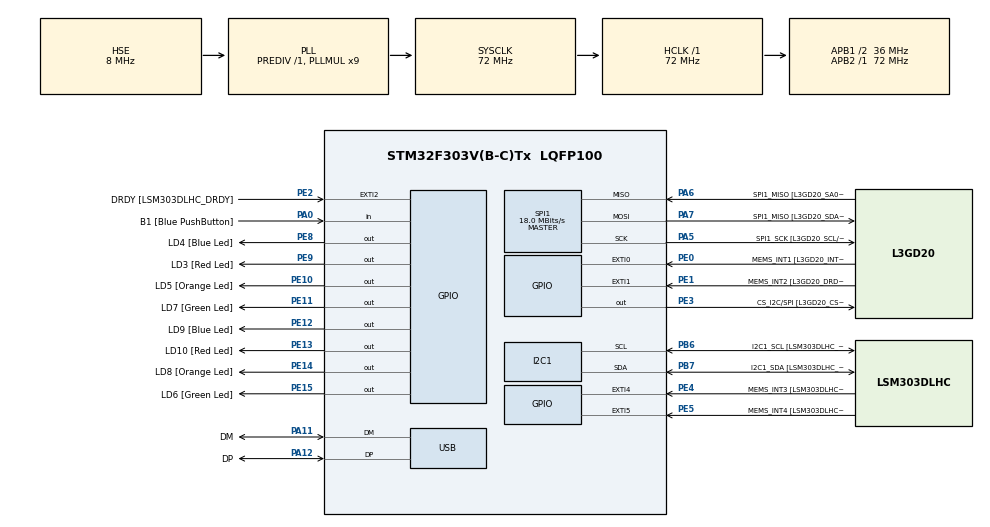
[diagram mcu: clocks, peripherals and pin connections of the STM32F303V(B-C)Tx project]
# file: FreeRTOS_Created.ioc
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I2C1.Timing-I2C=0x2000090E
Mcu.Family=STM32F3
Mcu.Name=STM32F303V(B-C)Tx
Mcu.Package=LQFP100
NVIC.PriorityGroup=NVIC_PRIORITYGROUP_4
NVIC.TIM3_IRQn=true\:0\:0\:false\:false\:true\:false\:true
NVIC.TimeBase=TIM3_IRQn
NVIC.TimeBaseIP=TIM3
PA0.GPIO_Label=B1 [Blue PushButton]
PA0.Signal=GPIO_Input
PA11.GPIO_Label=DM
PA11.Mode=Device
PA11.Signal=USB_DM
PA12.GPIO_Label=DP
PA12.Mode=Device
PA12.Signal=USB_DP
PA13.GPIO_Label=SWDIO
PA13.Mode=Serial_Wire
PA13.Signal=SYS_JTMS-SWDIO
PA14.GPIO_Label=SWCLK
PA14.Mode=Serial_Wire
PA14.Signal=SYS_JTCK-SWCLK
PA5.GPIO_Label=SPI1_SCK [L3GD20_SCL/SPC]
PA5.Mode=Full_Duplex_Master
PA5.Signal=SPI1_SCK
PA6.GPIO_Label=SPI1_MISO [L3GD20_SA0/SDO]
PA6.Mode=Full_Duplex_Master
PA6.Signal=SPI1_MISO
PA7.GPIO_Label=SPI1_MISO [L3GD20_SDA/SDI/SDO]
PA7.Mode=Full_Duplex_Master
PA7.Signal=SPI1_MOSI
PB3.GPIO_Label=SWO
PB3.Signal=SYS_JTDO-TRACESWO
PB6.GPIO_Label=I2C1_SCL [LSM303DLHC_SCL]
PB6.Mode=I2C
PB6.Signal=I2C1_SCL
PB7.GPIO_Label=I2C1_SDA [LSM303DLHC_SDA]
PB7.Mode=I2C
PB7.Signal=I2C1_SDA
PC14-OSC32_IN.GPIO_Label=OSC32_IN
PC14-OSC32_IN.Signal=RCC_OSC32_IN
PC15-OSC32_OUT.GPIO_Label=OSC32_OUT
PC15-OSC32_OUT.Signal=RCC_OSC32_OUT
PE0.GPIO_Label=MEMS_INT1 [L3GD20_INT1]
PE0.GPIO_ModeDefaultEXTI=GPIO_MODE_EVT_RISING
PE0.Signal=GPXTI0
PE1.GPIO_Label=MEMS_INT2 [L3GD20_DRDY/INT2]
PE1.GPIO_ModeDefaultEXTI=GPIO_MODE_EVT_RISING
PE1.Signal=GPXTI1
PE10.GPIO_Label=LD5 [Orange Led]
PE10.Signal=GPIO_Output
PE11.GPIO_Label=LD7 [Green Led]
PE11.Signal=GPIO_Output
PE12.GPIO_Label=LD9 [Blue Led]
PE12.Signal=GPIO_Output
PE13.GPIO_Label=LD10 [Red Led]
PE13.Signal=GPIO_Output
PE14.GPIO_Label=LD8 [Orange Led]
PE14.Signal=GPIO_Output
PE15.GPIO_Label=LD6 [Green Led]
PE15.Signal=GPIO_Output
PE2.GPIO_Label=DRDY [LSM303DLHC_DRDY]
PE2.GPIO_ModeDefaultEXTI=GPIO_MODE_EVT_RISING
PE2.Signal=GPXTI2
PE3.GPIO_Label=CS_I2C/SPI [L3GD20_CS_I2C/SPI]
PE3.Signal=GPIO_Output
PE4.GPIO_Label=MEMS_INT3 [LSM303DLHC_INT1]
PE4.GPIO_ModeDefaultEXTI=GPIO_MODE_EVT_RISING
PE4.Signal=GPXTI4
PE5.GPIO_Label=MEMS_INT4 [LSM303DLHC_INT2]
PE5.GPIO_ModeDefaultEXTI=GPIO_MODE_EVT_RISING
PE5.Signal=GPXTI5
PE8.GPIO_Label=LD4 [Blue Led]
PE8.Signal=GPIO_Output
PE9.GPIO_Label=LD3 [Red Led]
PE9.Signal=GPIO_Output
PF0-OSC_IN.GPIO_Label=OSC_IN
PF0-OSC_IN.Mode=HSE-External-Clock-Source
PF0-OSC_IN.Signal=RCC_OSC_IN
PF1-OSC_OUT.GPIO_Label=OSC_OUT
PF1-OSC_OUT.Signal=RCC_OSC_OUT
ProjectManager.HeapSize=0x800
ProjectManager.StackSize=0x800
ProjectManager.TargetToolchain=MDK-ARM V5.27
RCC.AHBFreq_Value=72000000
RCC.APB1CLKDivider=RCC_HCLK_DIV2
RCC.APB1Freq_Value=36000000
RCC.APB1TimFreq_Value=72000000
RCC.APB2Freq_Value=72000000
RCC.APB2TimFreq_Value=72000000
RCC.CortexFreq_Value=72000000
RCC.HCLKFreq_Value=72000000
RCC.HSE_VALUE=8000000
RCC.HSI_VALUE=8000000
RCC.LSE_VALUE=32768
RCC.PLLMUL=RCC_PLL_MUL9
RCC.PRESCALERUSB=RCC_USBCLKSOURCE_PLL_DIV1_5
RCC.SYSCLKFreq_VALUE=72000000
RCC.SYSCLKSourceVirtual=RCC_SYSCLKSOURCE_PLLCLK
RCC.USBFreq_Value=48000000
SPI1.BaudRatePrescaler=SPI_BAUDRATEPRESCALER_4
SPI1.BaudRatePrescaler-Full_Duplex_Master=SPI_BAUDRATEPRESCALER_2
SPI1.CalculateBaudRate=18.0 MBits/s
SPI1.CalculateBaudRate-Full_Duplex_Master=24.0 MBits/s
SPI1.Direction=SPI_DIRECTION_2LINES
SPI1.Mode=SPI_MODE_MASTER
SPI1.Mode-Full_Duplex_Master=SPI_MODE_MASTER
SPI1.VirtualType=VM_MASTER
VP_SYS_VS_tim3.Mode=TIM3
board=STM32F3DISCOVERY

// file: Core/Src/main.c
/* USER CODE BEGIN Header */
/**
  ******************************************************************************
  * @file           : main.c
  * @brief          : Main program body
  ******************************************************************************
  * @attention
  *
  * <h2><center>&copy; Copyright (c) 2021 STMicroelectronics.
  * All rights reserved.</center></h2>
  *
  * This software component is licensed by ST under Ultimate Liberty license
  * SLA0044, the "License"; You may not use this file except in compliance with
  * the License. You may obtain a copy of the License at:
  *                             www.st.com/SLA0044
  *
  ******************************************************************************
  */
/* USER CODE END Header */
#include "main.h"

/* USER CODE BEGIN Includes */

//====================================================================================================

#include "FreeRTOS.h"
#include "task.h"

	#define STACK_SIZE 100

	/* Structure that will hold the TCB of the task being created. */
    StaticTask_t xTaskBuffer;

    /* Buffer that the task being created will use as its stack.  Note this is
    an array of StackType_t variables.  The size of StackType_t is dependent on
    the RTOS port. */
    StackType_t xStack[ STACK_SIZE ];

	TaskHandle_t xHandle_STATIC;
	TaskHandle_t xHandle_DYNAMIC;

// ENTER TIM3 FOR FreeRTOS !!!!!! CubeMX -> SYS

//====================================================================================================

/* USER CODE END Includes */

I2C_HandleTypeDef hi2c1;

SPI_HandleTypeDef hspi1;

PCD_HandleTypeDef hpcd_USB_FS;

void SystemClock_Config(void);
static void MX_GPIO_Init(void);
static void MX_I2C1_Init(void);
static void MX_SPI1_Init(void);
static void MX_USB_PCD_Init(void);
/* USER CODE BEGIN PFP */

//====================================================================================================

// Blink LED_one
void vTaskCode_STATIC( void * pvParameters );

// Blink LED_two
void vTaskCode_DYNAMIC( void * pvParameters );

//====================================================================================================

/* USER CODE END PFP */

int main(void)
{

  /* MCU Configuration--------------------------------------------------------*/

  /* Reset of all peripherals, Initializes the Flash interface and the Systick. */
  HAL_Init();

  /* Configure the system clock */
  SystemClock_Config();

  /* Initialize all configured peripherals */
  MX_GPIO_Init();
  MX_I2C1_Init();
  MX_SPI1_Init();
  MX_USB_PCD_Init();

  /* Infinite loop */
  /* USER CODE BEGIN WHILE */

  //=========================================================================================================

    /*========== Create the task, storing the handle. =================*/
	// enable #define configUSE_TRACE_FACILITY	1  for cebug 0xA5A5A5A5
    xHandle_STATIC = xTaskCreateStatic(
                    vTaskCode_STATIC,       /* Function that implements the task. */
                    "STATIC",          /* Text name for the task. */
                    STACK_SIZE,      /* Stack size in words, not bytes. */
                    NULL,    /* Parameter passed into the task. */
                    tskIDLE_PRIORITY,/* Priority at which the task is created. */
					xStack, /* Array to use as the task's stack. */
                    &xTaskBuffer );  /* Variable to hold the task's data structure. */

    /*========= Create the task, storing the handle. =================*/
    xTaskCreate(
                    vTaskCode_DYNAMIC,       /* Function that implements the task. */
                    "DYNAMIC",          /* Text name for the task. */
                    100*4,      /* Stack size in words, not bytes. */
                    NULL,    /* Parameter passed into the task. */
                    tskIDLE_PRIORITY,/* Priority at which the task is created. */
                    &xHandle_DYNAMIC);      /* Used to pass out the created task's handle. */

	//==  RUN TASKs ================================================
	vTaskStartScheduler();

  //=========================================================================================================

  while (1)
  {
    /* USER CODE END WHILE */

  }
}

void SystemClock_Config(void)
{
  RCC_OscInitTypeDef RCC_OscInitStruct = {0};
  RCC_ClkInitTypeDef RCC_ClkInitStruct = {0};
  RCC_PeriphCLKInitTypeDef PeriphClkInit = {0};

  /** Initializes the RCC Oscillators according to the specified parameters
  * in the RCC_OscInitTypeDef structure.
  */
  RCC_OscInitStruct.OscillatorType = RCC_OSCILLATORTYPE_HSI|RCC_OSCILLATORTYPE_HSE;
  RCC_OscInitStruct.HSEState = RCC_HSE_BYPASS;
  RCC_OscInitStruct.HSEPredivValue = RCC_HSE_PREDIV_DIV1;
  RCC_OscInitStruct.HSIState = RCC_HSI_ON;
  RCC_OscInitStruct.HSICalibrationValue = RCC_HSICALIBRATION_DEFAULT;
  RCC_OscInitStruct.PLL.PLLState = RCC_PLL_ON;
  RCC_OscInitStruct.PLL.PLLSource = RCC_PLLSOURCE_HSE;
  RCC_OscInitStruct.PLL.PLLMUL = RCC_PLL_MUL9;
  if (HAL_RCC_OscConfig(&RCC_OscInitStruct) != HAL_OK)
  {
    Error_Handler();
  }
  /** Initializes the CPU, AHB and APB buses clocks
  */
  RCC_ClkInitStruct.ClockType = RCC_CLOCKTYPE_HCLK|RCC_CLOCKTYPE_SYSCLK
                              |RCC_CLOCKTYPE_PCLK1|RCC_CLOCKTYPE_PCLK2;
  RCC_ClkInitStruct.SYSCLKSource = RCC_SYSCLKSOURCE_PLLCLK;
  RCC_ClkInitStruct.AHBCLKDivider = RCC_SYSCLK_DIV1;
  RCC_ClkInitStruct.APB1CLKDivider = RCC_HCLK_DIV2;
  RCC_ClkInitStruct.APB2CLKDivider = RCC_HCLK_DIV1;

  if (HAL_RCC_ClockConfig(&RCC_ClkInitStruct, FLASH_LATENCY_2) != HAL_OK)
  {
    Error_Handler();
  }
  PeriphClkInit.PeriphClockSelection = RCC_PERIPHCLK_USB|RCC_PERIPHCLK_I2C1;
  PeriphClkInit.I2c1ClockSelection = RCC_I2C1CLKSOURCE_HSI;
  PeriphClkInit.USBClockSelection = RCC_USBCLKSOURCE_PLL_DIV1_5;
  if (HAL_RCCEx_PeriphCLKConfig(&PeriphClkInit) != HAL_OK)
  {
    Error_Handler();
  }
}

static void MX_I2C1_Init(void)
{

  hi2c1.Instance = I2C1;
  hi2c1.Init.Timing = 0x2000090E;
  hi2c1.Init.OwnAddress1 = 0;
  hi2c1.Init.AddressingMode = I2C_ADDRESSINGMODE_7BIT;
  hi2c1.Init.DualAddressMode = I2C_DUALADDRESS_DISABLE;
  hi2c1.Init.OwnAddress2 = 0;
  hi2c1.Init.OwnAddress2Masks = I2C_OA2_NOMASK;
  hi2c1.Init.GeneralCallMode = I2C_GENERALCALL_DISABLE;
  hi2c1.Init.NoStretchMode = I2C_NOSTRETCH_DISABLE;
  if (HAL_I2C_Init(&hi2c1) != HAL_OK)
  {
    Error_Handler();
  }
  /** Configure Analogue filter
  */
  if (HAL_I2CEx_ConfigAnalogFilter(&hi2c1, I2C_ANALOGFILTER_ENABLE) != HAL_OK)
  {
    Error_Handler();
  }
  /** Configure Digital filter
  */
  if (HAL_I2CEx_ConfigDigitalFilter(&hi2c1, 0) != HAL_OK)
  {
    Error_Handler();
  }

}

static void MX_SPI1_Init(void)
{

  /* SPI1 parameter configuration*/
  hspi1.Instance = SPI1;
  hspi1.Init.Mode = SPI_MODE_MASTER;
  hspi1.Init.Direction = SPI_DIRECTION_2LINES;
  hspi1.Init.DataSize = SPI_DATASIZE_4BIT;
  hspi1.Init.CLKPolarity = SPI_POLARITY_LOW;
  hspi1.Init.CLKPhase = SPI_PHASE_1EDGE;
  hspi1.Init.NSS = SPI_NSS_SOFT;
  hspi1.Init.BaudRatePrescaler = SPI_BAUDRATEPRESCALER_4;
  hspi1.Init.FirstBit = SPI_FIRSTBIT_MSB;
  hspi1.Init.TIMode = SPI_TIMODE_DISABLE;
  hspi1.Init.CRCCalculation = SPI_CRCCALCULATION_DISABLE;
  hspi1.Init.CRCPolynomial = 7;
  hspi1.Init.CRCLength = SPI_CRC_LENGTH_DATASIZE;
  hspi1.Init.NSSPMode = SPI_NSS_PULSE_ENABLE;
  if (HAL_SPI_Init(&hspi1) != HAL_OK)
  {
    Error_Handler();
  }

}

static void MX_USB_PCD_Init(void)
{

  hpcd_USB_FS.Instance = USB;
  hpcd_USB_FS.Init.dev_endpoints = 8;
  hpcd_USB_FS.Init.speed = PCD_SPEED_FULL;
  hpcd_USB_FS.Init.phy_itface = PCD_PHY_EMBEDDED;
  hpcd_USB_FS.Init.low_power_enable = DISABLE;
  hpcd_USB_FS.Init.battery_charging_enable = DISABLE;
  if (HAL_PCD_Init(&hpcd_USB_FS) != HAL_OK)
  {
    Error_Handler();
  }

}

static void MX_GPIO_Init(void)
{
  GPIO_InitTypeDef GPIO_InitStruct = {0};

  /* GPIO Ports Clock Enable */
  __HAL_RCC_GPIOE_CLK_ENABLE();
  __HAL_RCC_GPIOC_CLK_ENABLE();
  __HAL_RCC_GPIOF_CLK_ENABLE();
  __HAL_RCC_GPIOA_CLK_ENABLE();
  __HAL_RCC_GPIOB_CLK_ENABLE();

  /*Configure GPIO pin Output Level */
  HAL_GPIO_WritePin(GPIOE, CS_I2C_SPI_Pin|LD4_Pin|LD3_Pin|LD5_Pin
                          |LD7_Pin|LD9_Pin|LD10_Pin|LD8_Pin
                          |LD6_Pin, GPIO_PIN_RESET);

  /*Configure GPIO pins : DRDY_Pin MEMS_INT3_Pin MEMS_INT4_Pin MEMS_INT1_Pin
                           MEMS_INT2_Pin */
  GPIO_InitStruct.Pin = DRDY_Pin|MEMS_INT3_Pin|MEMS_INT4_Pin|MEMS_INT1_Pin
                          |MEMS_INT2_Pin;
  GPIO_InitStruct.Mode = GPIO_MODE_EVT_RISING;
  GPIO_InitStruct.Pull = GPIO_NOPULL;
  HAL_GPIO_Init(GPIOE, &GPIO_InitStruct);

  /*Configure GPIO pins : CS_I2C_SPI_Pin LD4_Pin LD3_Pin LD5_Pin
                           LD7_Pin LD9_Pin LD10_Pin LD8_Pin
                           LD6_Pin */
  GPIO_InitStruct.Pin = CS_I2C_SPI_Pin|LD4_Pin|LD3_Pin|LD5_Pin
                          |LD7_Pin|LD9_Pin|LD10_Pin|LD8_Pin
                          |LD6_Pin;
  GPIO_InitStruct.Mode = GPIO_MODE_OUTPUT_PP;
  GPIO_InitStruct.Pull = GPIO_NOPULL;
  GPIO_InitStruct.Speed = GPIO_SPEED_FREQ_LOW;
  HAL_GPIO_Init(GPIOE, &GPIO_InitStruct);

  /*Configure GPIO pin : B1_Pin */
  GPIO_InitStruct.Pin = B1_Pin;
  GPIO_InitStruct.Mode = GPIO_MODE_INPUT;
  GPIO_InitStruct.Pull = GPIO_NOPULL;
  HAL_GPIO_Init(B1_GPIO_Port, &GPIO_InitStruct);

}

/* USER CODE BEGIN 4 */

//====================================================================================================

void vTaskCode_STATIC( void * pvParameters )
{
    for( ;; )
    {
        HAL_GPIO_TogglePin( LD4_GPIO_Port, LD4_Pin );
		vTaskDelay( 2000 / portTICK_PERIOD_MS );

		/* puxStackBuffer and pxTaskBuffer were not NULL, so the task will have
        been created, and xHandle will be the task's handle.  Use the handle
        to suspend the task. */
        //vTaskSuspend( xHandle_STATIC );
		//vTaskDelete( NULL );
    }

	//vTaskDelete( NULL );
}

void vTaskCode_DYNAMIC( void * pvParameters )
{
    for( ;; )
    {
        HAL_GPIO_TogglePin( LD6_GPIO_Port, LD6_Pin );
		vTaskDelay( 1500 / portTICK_PERIOD_MS );
    }

	//vTaskDelete( NULL );
}

// the function checks half of the stack if it has been allocated starting from the starting address
uint8_t check_stack( StackType_t* stack, uint16_t stack_size )
{
	for( uint16_t i = 0; i < (stack_size/2); i++ )
	{
		if( stack[i] != 0xA5A5A5A5UL ) return 0;
	}
	return 1;
}

// function is the idle task hook and it is called automatically=======================
void vApplicationIdleHook( void * pvParameters )
{
	 if( check_stack( xStack, STACK_SIZE ) == 0 )
	 {
		 // ERROR HALF STACK
		 HAL_GPIO_WritePin( LD3_GPIO_Port, LD3_Pin, GPIO_PIN_SET );
	 }
	 else
	 {
		 // stack allocated correctly
		 HAL_GPIO_WritePin( LD3_GPIO_Port, LD3_Pin, GPIO_PIN_RESET );
	 }
}

//====================================================================================================

/* configSUPPORT_STATIC_ALLOCATION is set to 1, so the application must provide an
implementation of vApplicationGetIdleTaskMemory() to provide the memory that is
used by the Idle task. */
void vApplicationGetIdleTaskMemory( StaticTask_t **ppxIdleTaskTCBBuffer,
                                    StackType_t **ppxIdleTaskStackBuffer,
                                    uint32_t *pulIdleTaskStackSize )
{
/* If the buffers to be provided to the Idle task are declared inside this
function then they must be declared static - otherwise they will be allocated on
the stack and so not exists after this function exits. */
static StaticTask_t xIdleTaskTCB;
static StackType_t uxIdleTaskStack[ configMINIMAL_STACK_SIZE ];

    /* Pass out a pointer to the StaticTask_t structure in which the Idle task's
    state will be stored. */
    *ppxIdleTaskTCBBuffer = &xIdleTaskTCB;

    /* Pass out the array that will be used as the Idle task's stack. */
    *ppxIdleTaskStackBuffer = uxIdleTaskStack;

    /* Pass out the size of the array pointed to by *ppxIdleTaskStackBuffer.
    Note that, as the array is necessarily of type StackType_t,
    configMINIMAL_STACK_SIZE is specified in words, not bytes. */
    *pulIdleTaskStackSize = configMINIMAL_STACK_SIZE;
}
/*-----------------------------------------------------------*/

/* configSUPPORT_STATIC_ALLOCATION and configUSE_TIMERS are both set to 1, so the
application must provide an implementation of vApplicationGetTimerTaskMemory()
to provide the memory that is used by the Timer service task. */
void vApplicationGetTimerTaskMemory( StaticTask_t **ppxTimerTaskTCBBuffer,
                                     StackType_t **ppxTimerTaskStackBuffer,
                                     uint32_t *pulTimerTaskStackSize )
{
/* If the buffers to be provided to the Timer task are declared inside this
function then they must be declared static - otherwise they will be allocated on
the stack and so not exists after this function exits. */
static StaticTask_t xTimerTaskTCB;
static StackType_t uxTimerTaskStack[ configTIMER_TASK_STACK_DEPTH ];

    /* Pass out a pointer to the StaticTask_t structure in which the Timer
    task's state will be stored. */
    *ppxTimerTaskTCBBuffer = &xTimerTaskTCB;

    /* Pass out the array that will be used as the Timer task's stack. */
    *ppxTimerTaskStackBuffer = uxTimerTaskStack;

    /* Pass out the size of the array pointed to by *ppxTimerTaskStackBuffer.
    Note that, as the array is necessarily of type StackType_t,
    configTIMER_TASK_STACK_DEPTH is specified in words, not bytes. */
    *pulTimerTaskStackSize = configTIMER_TASK_STACK_DEPTH;
}

//==================================================================================================

/* USER CODE END 4 */

 /**
  * @brief  Period elapsed callback in non blocking mode
  * @note   This function is called  when TIM3 interrupt took place, inside
  * HAL_TIM_IRQHandler(). It makes a direct call to HAL_IncTick() to increment
  * a global variable "uwTick" used as application time base.
  * @param  htim : TIM handle
  * @retval None
  */
void HAL_TIM_PeriodElapsedCallback(TIM_HandleTypeDef *htim)
{
  if (htim->Instance == TIM3) {
    HAL_IncTick();
  }
}

void Error_Handler(void)
{
  __disable_irq();
  while (1)
  {
  }
}

/************************ (C) COPYRIGHT STMicroelectronics *****END OF FILE****/
